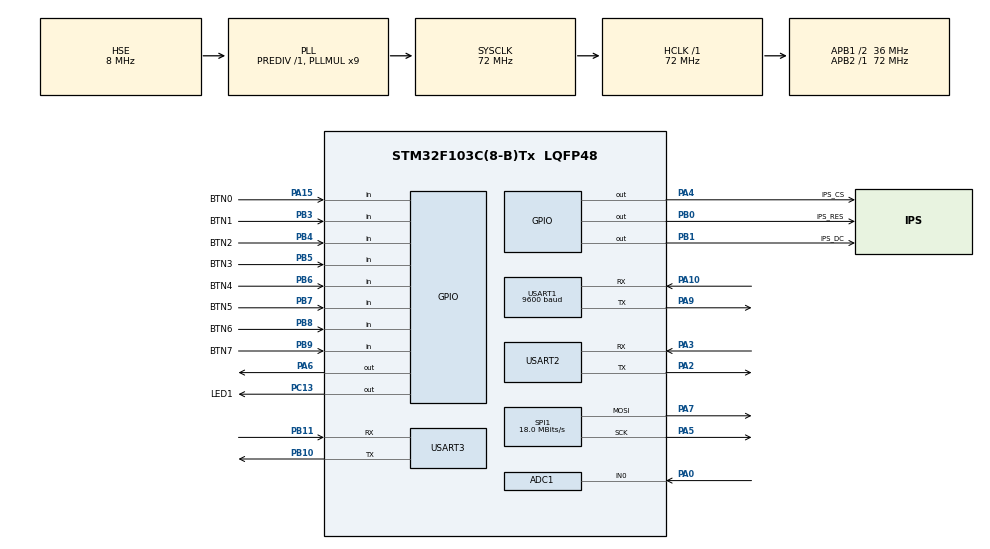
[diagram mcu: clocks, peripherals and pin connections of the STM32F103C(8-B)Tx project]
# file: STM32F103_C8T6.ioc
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ADC1.Channel-0\#ChannelRegularConversion=ADC_CHANNEL_0
ADC1.NbrOfConversionFlag=1
ADC1.Rank-0\#ChannelRegularConversion=1
ADC1.SamplingTime-0\#ChannelRegularConversion=ADC_SAMPLETIME_1CYCLE_5
ADC1.master=1
Dma.ADC1.1.Direction=DMA_PERIPH_TO_MEMORY
Dma.ADC1.1.Instance=DMA1_Channel1
Dma.ADC1.1.MemDataAlignment=DMA_MDATAALIGN_HALFWORD
Dma.ADC1.1.MemInc=DMA_MINC_ENABLE
Dma.ADC1.1.Mode=DMA_NORMAL
Dma.ADC1.1.PeriphDataAlignment=DMA_PDATAALIGN_HALFWORD
Dma.ADC1.1.PeriphInc=DMA_PINC_DISABLE
Dma.ADC1.1.Priority=DMA_PRIORITY_LOW
Dma.Request0=USART1_RX
Dma.Request1=ADC1
Dma.USART1_RX.0.Direction=DMA_PERIPH_TO_MEMORY
Dma.USART1_RX.0.Instance=DMA1_Channel5
Dma.USART1_RX.0.MemDataAlignment=DMA_MDATAALIGN_BYTE
Dma.USART1_RX.0.MemInc=DMA_MINC_ENABLE
Dma.USART1_RX.0.Mode=DMA_NORMAL
Dma.USART1_RX.0.PeriphDataAlignment=DMA_PDATAALIGN_BYTE
Dma.USART1_RX.0.PeriphInc=DMA_PINC_DISABLE
Dma.USART1_RX.0.Priority=DMA_PRIORITY_LOW
Mcu.Family=STM32F1
Mcu.Name=STM32F103C(8-B)Tx
Mcu.Package=LQFP48
NVIC.DMA1_Channel1_IRQn=true\:0\:0\:false\:false\:true\:false\:true\:true
NVIC.DMA1_Channel5_IRQn=true\:0\:0\:false\:false\:true\:false\:true\:true
NVIC.PriorityGroup=NVIC_PRIORITYGROUP_4
NVIC.TIM2_IRQn=true\:0\:0\:false\:false\:true\:true\:true\:true
NVIC.TIM3_IRQn=true\:0\:0\:false\:false\:true\:true\:true\:true
NVIC.USART1_IRQn=true\:0\:0\:false\:false\:true\:false\:true\:true
NVIC.USART2_IRQn=true\:0\:0\:false\:false\:true\:false\:true\:true
NVIC.USART3_IRQn=true\:0\:0\:false\:false\:true\:false\:true\:true
PA0-WKUP.Signal=ADCx_IN0
PA10.Mode=Asynchronous
PA10.Signal=USART1_RX
PA13.Mode=Serial_Wire
PA13.Signal=SYS_JTMS-SWDIO
PA14.Mode=Serial_Wire
PA14.Signal=SYS_JTCK-SWCLK
PA15.GPIO_Label=BTN0
PA15.GPIO_PuPd=GPIO_PULLUP
PA15.Signal=GPIO_Input
PA2.Mode=Asynchronous
PA2.Signal=USART2_TX
PA3.Mode=Asynchronous
PA3.Signal=USART2_RX
PA4.GPIO_Label=IPS_CS
PA4.GPIO_PuPd=GPIO_PULLDOWN
PA4.GPIO_Speed=GPIO_SPEED_FREQ_HIGH
PA4.Signal=GPIO_Output
PA5.Mode=TX_Only_Simplex_Unidirect_Master
PA5.Signal=SPI1_SCK
PA6.GPIO_PuPd=GPIO_PULLDOWN
PA6.GPIO_Speed=GPIO_SPEED_FREQ_HIGH
PA6.Signal=GPIO_Output
PA7.Mode=TX_Only_Simplex_Unidirect_Master
PA7.Signal=SPI1_MOSI
PA9.Mode=Asynchronous
PA9.Signal=USART1_TX
PB0.GPIO_Label=IPS_RES
PB0.GPIO_PuPd=GPIO_PULLUP
PB0.GPIO_Speed=GPIO_SPEED_FREQ_HIGH
PB0.PinState=GPIO_PIN_SET
PB0.Signal=GPIO_Output
PB1.GPIO_Label=IPS_DC
PB1.GPIO_PuPd=GPIO_PULLUP
PB1.GPIO_Speed=GPIO_SPEED_FREQ_HIGH
PB1.PinState=GPIO_PIN_SET
PB1.Signal=GPIO_Output
PB10.Mode=Asynchronous
PB10.Signal=USART3_TX
PB11.Mode=Asynchronous
PB11.Signal=USART3_RX
PB3.GPIO_Label=BTN1
PB3.GPIO_PuPd=GPIO_PULLUP
PB3.Signal=GPIO_Input
PB4.GPIO_Label=BTN2
PB4.GPIO_Mode=GPIO_MODE_INPUT
PB4.GPIO_PuPd=GPIO_PULLUP
PB4.Signal=GPIO_Input
PB5.GPIO_Label=BTN3
PB5.GPIO_Mode=GPIO_MODE_INPUT
PB5.GPIO_PuPd=GPIO_PULLUP
PB5.Signal=GPIO_Input
PB6.GPIO_Label=BTN4
PB6.GPIO_Mode=GPIO_MODE_INPUT
PB6.GPIO_PuPd=GPIO_PULLUP
PB6.Signal=GPIO_Input
PB7.GPIO_Label=BTN5
PB7.GPIO_Mode=GPIO_MODE_INPUT
PB7.GPIO_PuPd=GPIO_PULLUP
PB7.Signal=GPIO_Input
PB8.GPIO_Label=BTN6
PB8.GPIO_Mode=GPIO_MODE_INPUT
PB8.GPIO_PuPd=GPIO_PULLUP
PB8.Signal=GPIO_Input
PB9.GPIO_Label=BTN7
PB9.GPIO_Mode=GPIO_MODE_INPUT
PB9.GPIO_PuPd=GPIO_PULLUP
PB9.Signal=GPIO_Input
PC13-TAMPER-RTC.GPIO_Label=LED1
PC13-TAMPER-RTC.GPIO_PuPd=GPIO_PULLUP
PC13-TAMPER-RTC.PinState=GPIO_PIN_SET
PC13-TAMPER-RTC.Signal=GPIO_Output
PC14-OSC32_IN.Mode=LSE-External-Oscillator
PC14-OSC32_IN.Signal=RCC_OSC32_IN
PC15-OSC32_OUT.Mode=LSE-External-Oscillator
PC15-OSC32_OUT.Signal=RCC_OSC32_OUT
PD0-OSC_IN.Mode=HSE-External-Oscillator
PD0-OSC_IN.Signal=RCC_OSC_IN
PD1-OSC_OUT.Mode=HSE-External-Oscillator
PD1-OSC_OUT.Signal=RCC_OSC_OUT
ProjectManager.HeapSize=0x200
ProjectManager.StackSize=0x400
ProjectManager.TargetToolchain=MDK-ARM V5.32
RCC.ADCPresc=RCC_ADCPCLK2_DIV6
RCC.AHBFreq_Value=72000000
RCC.APB1CLKDivider=RCC_HCLK_DIV2
RCC.APB1Freq_Value=36000000
RCC.APB1TimFreq_Value=72000000
RCC.APB2Freq_Value=72000000
RCC.APB2TimFreq_Value=72000000
RCC.HCLKFreq_Value=72000000
RCC.PLLMUL=RCC_PLL_MUL9
RCC.PLLSourceVirtual=RCC_PLLSOURCE_HSE
RCC.SYSCLKFreq_VALUE=72000000
RCC.SYSCLKSource=RCC_SYSCLKSOURCE_PLLCLK
RCC.USBFreq_Value=72000000
SH.ADCx_IN0.0=ADC1_IN0,IN0
SPI1.BaudRatePrescaler=SPI_BAUDRATEPRESCALER_4
SPI1.CalculateBaudRate=18.0 MBits/s
SPI1.Direction=SPI_DIRECTION_2LINES
SPI1.Mode=SPI_MODE_MASTER
SPI1.VirtualType=VM_MASTER
TIM2.AutoReloadPreload=TIM_AUTORELOAD_PRELOAD_ENABLE
TIM2.Period=500-1
TIM2.Prescaler=7200-1
TIM3.AutoReloadPreload=TIM_AUTORELOAD_PRELOAD_ENABLE
TIM3.Period=10-1
TIM3.Prescaler=7200-1
USART1.BaudRate=9600
USART1.VirtualMode=VM_ASYNC
USART2.VirtualMode=VM_ASYNC
USART3.VirtualMode=VM_ASYNC
VP_TIM2_VS_ClockSourceINT.Mode=Internal
VP_TIM3_VS_ClockSourceINT.Mode=Internal
board=custom

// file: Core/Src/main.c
/* USER CODE BEGIN Header */
/**
  ******************************************************************************
  * @file           : main.c
  * @brief          : Main program body
  ******************************************************************************
  * @attention
  *
  * Copyright (c) 2025 STMicroelectronics.
  * All rights reserved.
  *
  * This software is licensed under terms that can be found in the LICENSE file
  * in the root directory of this software component.
  * If no LICENSE file comes with this software, it is provided AS-IS.
  *
  ******************************************************************************
  */
/* USER CODE END Header */
#include "main.h"
#include "adc.h"
#include "dma.h"
#include "spi.h"
#include "tim.h"
#include "usart.h"
#include "gpio.h"

/* USER CODE BEGIN Includes */
#include "headfile.h"
/* USER CODE END Includes */

/* USER CODE BEGIN PV */
float I_Data=0;

float I_Data_Ratio=0;
Data_I_TypeDef Curreny_data;
Kalman_Typedef Curreny_Kalman;
extern uint8_t window_index;
float a,b,c,d;
/* USER CODE END PV */

void SystemClock_Config(void);

int main(void)
{

  /* MCU Configuration--------------------------------------------------------*/

  /* Reset of all peripherals, Initializes the Flash interface and the Systick. */
  HAL_Init();

  /* Configure the system clock */
  SystemClock_Config();

  /* Initialize all configured peripherals */
  MX_GPIO_Init();
  MX_DMA_Init();
  MX_USART1_UART_Init();
  MX_USART2_UART_Init();
  MX_USART3_UART_Init();
  MX_ADC1_Init();
  MX_SPI1_Init();
  MX_TIM2_Init();
  MX_TIM3_Init();
  /* USER CODE BEGIN 2 */
  LCD_Init();
  LCD_Clear(WHITE);
    Kalman_Init(&Curreny_Kalman,0.0001,0.01);
    ADC_I_Init(&Curreny_data,100);
    Curreny_data.Correct_parameters=(float)(1.0);//1.2545
    HAL_TIM_Base_Start_IT(&htim2);
    HAL_TIM_Base_Start_IT(&htim3);

  /* USER CODE END 2 */

  /* Infinite loop */
  /* USER CODE BEGIN WHILE */
  while (1)
  {
//	HMI_Send_EveryInfo();
    HMI_Send_EveryInfo();
    JustFloat_4(a,b,c,d);
	if(key_get_state(UP) == KEY_SHORT_PRESS_RELEASE)	//DOWN
	{
    a++;
	key_clear_state(UP);
	}
	if(key_get_state(DOWN) == KEY_SHORT_PRESS_RELEASE) //LEFT
	{
    a--;
	key_clear_state(DOWN);
	}
	if(key_get_state(LEFT) == KEY_SHORT_PRESS_RELEASE)  //PRESS
	{
    a+=100;
	key_clear_state(LEFT);
	}
	if(key_get_state(RIGHT)== KEY_SHORT_PRESS_RELEASE)   //UP
	{
    b++;
	key_clear_state(RIGHT);
	}
	if(key_get_state(PRESS) == KEY_SHORT_PRESS_RELEASE)	 //RIGHT
	{
    b--;
	key_clear_state(PRESS);
	}
    if(key_get_state(BUTTN1) == KEY_SHORT_PRESS_RELEASE )
	{
    c--;
	key_clear_state(BUTTN1);
    }

//    HAL_GPIO_WritePin((GPIO_TypeDef *)LED1_GPIO_Port, (uint16_t)LED1_Pin, (GPIO_PinState)0);
//    HAL_Delay(200);
//    HAL_GPIO_WritePin((GPIO_TypeDef *)LED1_GPIO_Port, (uint16_t)LED1_Pin, (GPIO_PinState)1);
//    HAL_Delay(200);
    /* USER CODE END WHILE */

  }
}

void SystemClock_Config(void)
{
  RCC_OscInitTypeDef RCC_OscInitStruct = {0};
  RCC_ClkInitTypeDef RCC_ClkInitStruct = {0};
  RCC_PeriphCLKInitTypeDef PeriphClkInit = {0};

  /** Initializes the RCC Oscillators according to the specified parameters
  * in the RCC_OscInitTypeDef structure.
  */
  RCC_OscInitStruct.OscillatorType = RCC_OSCILLATORTYPE_HSE;
  RCC_OscInitStruct.HSEState = RCC_HSE_ON;
  RCC_OscInitStruct.HSEPredivValue = RCC_HSE_PREDIV_DIV1;
  RCC_OscInitStruct.HSIState = RCC_HSI_ON;
  RCC_OscInitStruct.PLL.PLLState = RCC_PLL_ON;
  RCC_OscInitStruct.PLL.PLLSource = RCC_PLLSOURCE_HSE;
  RCC_OscInitStruct.PLL.PLLMUL = RCC_PLL_MUL9;
  if (HAL_RCC_OscConfig(&RCC_OscInitStruct) != HAL_OK)
  {
    Error_Handler();
  }

  /** Initializes the CPU, AHB and APB buses clocks
  */
  RCC_ClkInitStruct.ClockType = RCC_CLOCKTYPE_HCLK|RCC_CLOCKTYPE_SYSCLK
                              |RCC_CLOCKTYPE_PCLK1|RCC_CLOCKTYPE_PCLK2;
  RCC_ClkInitStruct.SYSCLKSource = RCC_SYSCLKSOURCE_PLLCLK;
  RCC_ClkInitStruct.AHBCLKDivider = RCC_SYSCLK_DIV1;
  RCC_ClkInitStruct.APB1CLKDivider = RCC_HCLK_DIV2;
  RCC_ClkInitStruct.APB2CLKDivider = RCC_HCLK_DIV1;

  if (HAL_RCC_ClockConfig(&RCC_ClkInitStruct, FLASH_LATENCY_2) != HAL_OK)
  {
    Error_Handler();
  }
  PeriphClkInit.PeriphClockSelection = RCC_PERIPHCLK_ADC;
  PeriphClkInit.AdcClockSelection = RCC_ADCPCLK2_DIV6;
  if (HAL_RCCEx_PeriphCLKConfig(&PeriphClkInit) != HAL_OK)
  {
    Error_Handler();
  }
}

/* USER CODE BEGIN 4 */
void HAL_TIM_PeriodElapsedCallback(TIM_HandleTypeDef *htim){
    if(htim == &htim2)  //
   {

    Collect_CurrentData(&Curreny_data);
   Info.Elecurrent=(uint16_t)(Curreny_data.current_value_filt*1000);
   Info.Elecurrent_Avg=(uint16_t)(Curreny_data.avg_value*1000);
   }
     if(htim == &htim3)  //
   {
        Info.Distance+=1;
        key_scanner ();

    }

}

/* USER CODE END 4 */

void Error_Handler(void)
{
  __disable_irq();
  while (1)
  {
  }
}
